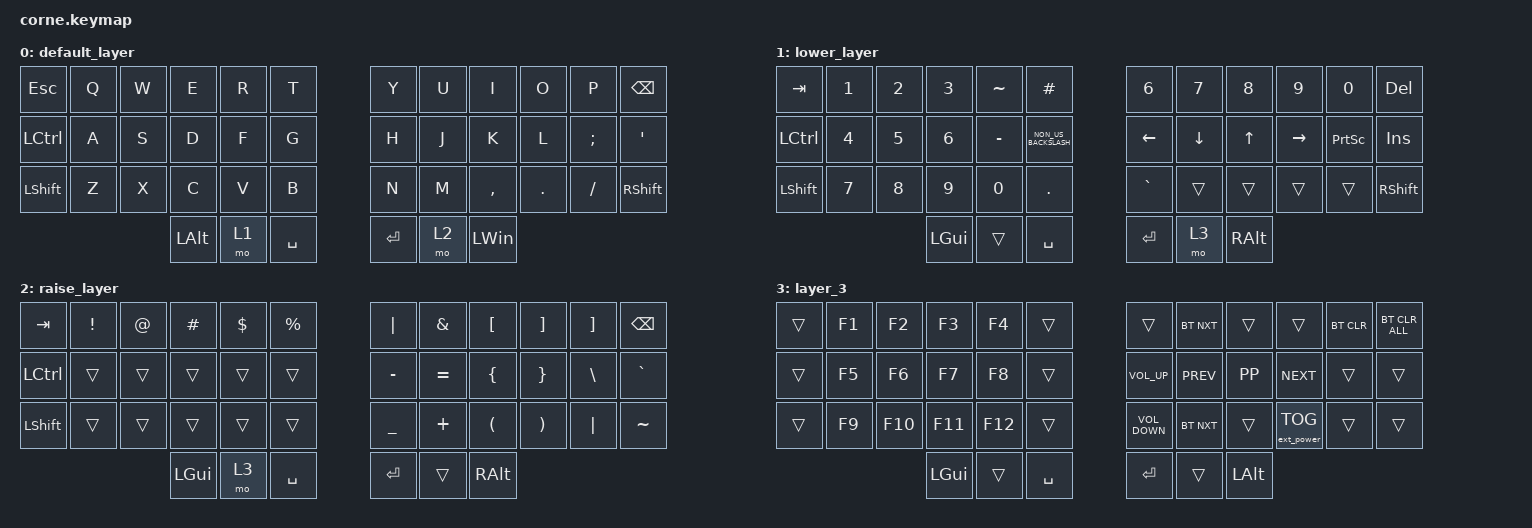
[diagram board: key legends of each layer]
/*
 * Copyright (c) 2020 The ZMK Contributors
 *
 * SPDX-License-Identifier: MIT
 */

#include <behaviors.dtsi>
#include <dt-bindings/zmk/bt.h>
#include <dt-bindings/zmk/ext_power.h>
#include <dt-bindings/zmk/keys.h>
#include <dt-bindings/zmk/keys.h>

/ {
    keymap {
        compatible = "zmk,keymap";

        default_layer {
            // -----------------------------------------------------------------------------------------
            // |  TAB |  Q  |  W  |  E  |  R  |  T  |   |  Y  |  U   |  I  |  O  |  P  | BKSP |
            // | CTRL |  A  |  S  |  D  |  F  |  G  |   |  H  |  J   |  K  |  L  |  ;  |  '   |
            // | SHFT |  Z  |  X  |  C  |  V  |  B  |   |  N  |  M   |  ,  |  .  |  /  | ESC  |
            //                    | GUI | LWR | SPC |   | ENT | RSE  | ALT |

            bindings = <
&kp ESCAPE  &kp Q  &kp W  &kp E         &kp R  &kp T        &kp Y    &kp U  &kp I      &kp O    &kp P     &kp BSPC
&kp LCTRL   &kp A  &kp S  &kp D         &kp F  &kp G        &kp H    &kp J  &kp K      &kp L    &kp SEMI  &kp SQT
&kp LSHFT   &kp Z  &kp X  &kp C         &kp V  &kp B        &kp N    &kp M  &kp COMMA  &kp DOT  &kp FSLH  &kp RSHFT
                          &kp LEFT_ALT  &mo 1  &kp SPACE    &kp RET  &mo 2  &kp LWIN
            >;
        };

        lower_layer {
            // -----------------------------------------------------------------------------------------
            // |  TAB |  1  |  2  |  3  |  4  |  5  |   |  6  |  7  |  8  |  9  |  0  | BKSP |
            // | BTCLR| BT1 | BT2 | BT3 | BT4 | BT5 |   | LFT | DWN |  UP | RGT |     |      |
            // | SHFT |     |     |     |     |     |   |     |     |     |     |     |      |
            //                    | GUI |     | SPC |   | ENT |     | ALT |

            bindings = <
&kp TAB    &kp N1  &kp N2  &kp N3        &kp TILDE  &kp HASH                &kp N6     &kp N7    &kp N8    &kp N9     &kp N0           &kp DELETE
&kp LCTRL  &kp N4  &kp N5  &kp NUMBER_6  &kp MINUS  &kp NON_US_BACKSLASH    &kp LEFT   &kp DOWN  &kp UP    &kp RIGHT  &kp PRINTSCREEN  &kp INS
&kp LSHFT  &kp N7  &kp N8  &kp N9        &kp N0     &kp PERIOD              &kp GRAVE  &trans    &trans    &trans     &trans           &kp RSHIFT
                           &kp LGUI      &trans     &kp SPACE               &kp RET    &mo 3     &kp RALT
            >;
        };

        raise_layer {
            // -----------------------------------------------------------------------------------------
            // |  TAB |  !  |  @  |  #  |  $  |  %  |   |  ^  |  &  |  *  |  (  |  )  | BKSP |
            // | CTRL |     |     |     |     |     |   |  -  |  =  |  [  |  ]  |  \  |  `   |
            // | SHFT |     |     |     |     |     |   |  _  |  +  |  {  |  }  | "|" |  ~   |
            //                    | GUI |     | SPC |   | ENT |     | ALT |

            bindings = <
&kp TAB    &kp EXCL  &kp AT  &kp HASH  &kp DLLR  &kp PRCNT    &kp PIPE   &kp AMPS   &kp LEFT_BRACKET      &kp RIGHT_BRACKET      &kp RIGHT_BRACKET  &kp BSPC
&kp LCTRL  &trans    &trans  &trans    &trans    &trans       &kp MINUS  &kp EQUAL  &kp LEFT_BRACE        &kp RIGHT_BRACE        &kp BSLH           &kp GRAVE
&kp LSHFT  &trans    &trans  &trans    &trans    &trans       &kp UNDER  &kp PLUS   &kp LEFT_PARENTHESIS  &kp RIGHT_PARENTHESIS  &kp PIPE           &kp TILDE
                             &kp LGUI  &mo 3     &kp SPACE    &kp RET    &trans     &kp RALT
            >;
        };

        layer_3 {
            bindings = <
&trans  &kp F1  &kp F2   &kp F3    &kp F4   &trans       &trans             &bt BT_NXT  &trans    &trans             &bt BT_CLR  &bt BT_CLR_ALL
&trans  &kp F5  &kp F6   &kp F7    &kp F8   &trans       &kp C_VOLUME_UP    &kp K_PREV  &kp K_PP  &kp K_NEXT         &trans      &trans
&trans  &kp F9  &kp F10  &kp F11   &kp F12  &trans       &kp K_VOLUME_DOWN  &bt BT_NXT  &trans    &ext_power EP_TOG  &trans      &trans
                         &kp LGUI  &trans   &kp SPACE    &kp ENTER          &trans      &kp LALT
            >;
        };
    };
};

